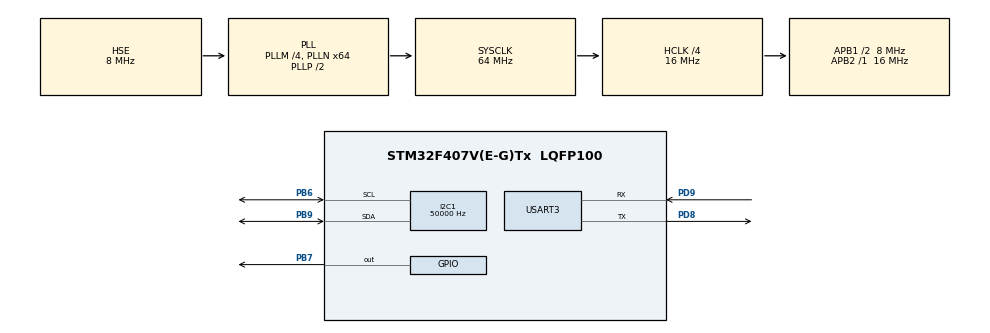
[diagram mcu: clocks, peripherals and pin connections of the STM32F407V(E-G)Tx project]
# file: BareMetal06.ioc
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I2C1.ClockSpeed=50000
I2C1.I2C_Mode=I2C_Fast
Mcu.Family=STM32F4
Mcu.Name=STM32F407V(E-G)Tx
Mcu.Package=LQFP100
NVIC.PriorityGroup=NVIC_PRIORITYGROUP_4
PA13.Mode=Serial_Wire
PA13.Signal=SYS_JTMS-SWDIO
PA14.Mode=Serial_Wire
PA14.Signal=SYS_JTCK-SWCLK
PB6.Mode=I2C
PB6.Signal=I2C1_SCL
PB7.Signal=GPIO_Output
PB9.Mode=I2C
PB9.Signal=I2C1_SDA
PD8.Mode=Asynchronous
PD8.Signal=USART3_TX
PD9.Mode=Asynchronous
PD9.Signal=USART3_RX
PH0-OSC_IN.Mode=HSE-External-Oscillator
PH0-OSC_IN.Signal=RCC_OSC_IN
PH1-OSC_OUT.Mode=HSE-External-Oscillator
PH1-OSC_OUT.Signal=RCC_OSC_OUT
ProjectManager.HeapSize=0x200
ProjectManager.StackSize=0x400
ProjectManager.TargetToolchain=STM32CubeIDE
RCC.48MHZClocksFreq_Value=32000000
RCC.AHBCLKDivider=RCC_SYSCLK_DIV4
RCC.AHBFreq_Value=16000000
RCC.APB1CLKDivider=RCC_HCLK_DIV2
RCC.APB1Freq_Value=8000000
RCC.APB1TimFreq_Value=16000000
RCC.APB2Freq_Value=16000000
RCC.APB2TimFreq_Value=16000000
RCC.CortexFreq_Value=16000000
RCC.HCLKFreq_Value=16000000
RCC.HSE_VALUE=8000000
RCC.HSI_VALUE=16000000
RCC.LSE_VALUE=32768
RCC.PLLM=4
RCC.PLLN=64
RCC.PLLSourceVirtual=RCC_PLLSOURCE_HSE
RCC.SYSCLKFreq_VALUE=64000000
RCC.SYSCLKSource=RCC_SYSCLKSOURCE_PLLCLK
RCC.VCOOutputFreq_Value=128000000
USART3.VirtualMode=VM_ASYNC
board=custom

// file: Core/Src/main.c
/* USER CODE BEGIN Header */
/*Author Mykhailo Svirskyi 05.03.2023*/
/**
 ******************************************************************************
 * @file           : main.c
 * @brief          : Main program body
 ******************************************************************************
 * @attention
 *
 * Copyright (c) 2023 STMicroelectronics.
 * All rights reserved.
 *
 * This software is licensed under terms that can be found in the LICENSE file
 * in the root directory of this software component.
 * If no LICENSE file comes with this software, it is provided AS-IS.
 *
 ******************************************************************************
 */
/* USER CODE END Header */
#include "main.h"
#include "i2c.h"
#include "usart.h"
#include "gpio.h"

/* USER CODE BEGIN Includes */
#include "pca9685.h"
void Process_Command(char *command);
#define buffsize 128    // uart3 input buffer size
#define CMD_SIZE (128)  // process_command bufer
#define BUF_SIZE (1024) // uart write buffer size
char cmd[CMD_SIZE];
uint8_t tx_buf[BUF_SIZE];
uint8_t icmd = 0;
uint8_t rx;
/* USER CODE END Includes */

void SystemClock_Config(void);

int main(void)
{

    /* MCU Configuration--------------------------------------------------------*/

    /* Reset of all peripherals, Initializes the Flash interface and the Systick. */
    HAL_Init();

    /* Configure the system clock */
    SystemClock_Config();

    /* Initialize all configured peripherals */
    MX_GPIO_Init();
    MX_I2C1_Init();
    MX_USART3_UART_Init();

    /* Infinite loop */
    /* USER CODE BEGIN WHILE */

    HAL_Delay(200);
    snprintf((char *)tx_buf, BUF_SIZE, "comand list:\r\ntrigger <on/off>\r\npulse <0-15> <0-100> (PIN Duty cycle)\r\nfreqmod <24-1526>\r\nslepmod <off/on>\r\n");
    HAL_UART_Transmit(&huart3, tx_buf, strlen((char *)tx_buf), 100);
/*    _pwm_reset();*/
    while (1)
    {

        if (HAL_UART_Receive(&huart3, &rx, 1, 10) == HAL_OK)
        {

            do
            {
                cmd[icmd++] = rx;
            } while (HAL_UART_Receive(&huart3, &rx, 1, 10) == HAL_OK && rx != '\n');
            icmd = 0;
            Process_Command(cmd);
        }
        /* USER CODE END WHILE */

    }
}

void SystemClock_Config(void)
{
    RCC_OscInitTypeDef RCC_OscInitStruct = {0};
    RCC_ClkInitTypeDef RCC_ClkInitStruct = {0};

    /** Configure the main internal regulator output voltage
     */
    __HAL_RCC_PWR_CLK_ENABLE();
    __HAL_PWR_VOLTAGESCALING_CONFIG(PWR_REGULATOR_VOLTAGE_SCALE1);

    /** Initializes the RCC Oscillators according to the specified parameters
     * in the RCC_OscInitTypeDef structure.
     */
    RCC_OscInitStruct.OscillatorType = RCC_OSCILLATORTYPE_HSE;
    RCC_OscInitStruct.HSEState = RCC_HSE_ON;
    RCC_OscInitStruct.PLL.PLLState = RCC_PLL_ON;
    RCC_OscInitStruct.PLL.PLLSource = RCC_PLLSOURCE_HSE;
    RCC_OscInitStruct.PLL.PLLM = 4;
    RCC_OscInitStruct.PLL.PLLN = 64;
    RCC_OscInitStruct.PLL.PLLP = RCC_PLLP_DIV2;
    RCC_OscInitStruct.PLL.PLLQ = 4;
    if (HAL_RCC_OscConfig(&RCC_OscInitStruct) != HAL_OK)
    {
        Error_Handler();
    }

    /** Initializes the CPU, AHB and APB buses clocks
     */
    RCC_ClkInitStruct.ClockType = RCC_CLOCKTYPE_HCLK | RCC_CLOCKTYPE_SYSCLK | RCC_CLOCKTYPE_PCLK1 | RCC_CLOCKTYPE_PCLK2;
    RCC_ClkInitStruct.SYSCLKSource = RCC_SYSCLKSOURCE_PLLCLK;
    RCC_ClkInitStruct.AHBCLKDivider = RCC_SYSCLK_DIV4;
    RCC_ClkInitStruct.APB1CLKDivider = RCC_HCLK_DIV2;
    RCC_ClkInitStruct.APB2CLKDivider = RCC_HCLK_DIV1;

    if (HAL_RCC_ClockConfig(&RCC_ClkInitStruct, FLASH_LATENCY_0) != HAL_OK)
    {
        Error_Handler();
    }
}

/* USER CODE BEGIN 4 */

void Process_Command(char *command)
{
    char cmd[64];
    char args[64];
    char args2[64];
    uint32_t argi, argi2;
    uint8_t parsed = sscanf(command, "%63s %63s %63s", cmd, args, args2);
    if (parsed == 3)
    {
        if (strcmp(cmd, "pulse") == 0)
        {
            snprintf((char *)tx_buf, BUF_SIZE, "OK\r\n");
            if (isdigit(args[0]))
            {
                argi = strtol(args, (char *)NULL, 10);
                if (argi >= 0 && argi <= 15)
                {
                    if (isdigit(args2[0]))
                    {
                        argi2 = strtol(args2, (char *)NULL, 10);
                        if (argi2 >= 0 && argi <= 100)
                        {

                            _pwm_set_duty_delay(argi, argi2, 0);
                            snprintf((char *)tx_buf, BUF_SIZE, "OK\r\n");
                        }
                        else
                        {
                            snprintf((char *)tx_buf, BUF_SIZE, "argument out of bounds <0 or >100%\r\n");
                        }
                    }
                    else
                    {
                        snprintf((char *)tx_buf, BUF_SIZE, "argument out of bounds <0 or >15\r\n");
                    }
                }
                else
                {
                    snprintf((char *)tx_buf, BUF_SIZE, "unknown argument\r\n");
                }
            }
        }
        else
        {
            snprintf((char *)tx_buf, BUF_SIZE, "command unknown\r\n");
        }
    }

    else if (parsed == 2 || parsed == 1)
    {
        if (strcmp(cmd, "trigger") == 0)
        {
            if (strcmp(args, "on") == 0)
            {
                snprintf((char *)tx_buf, BUF_SIZE, "trigger on\r\n");
                _pwm_out_trigger(ON);
            }
            else if (strcmp(args, "off") == 0)
            {
                snprintf((char *)tx_buf, BUF_SIZE, "trigger off\r\n");
                _pwm_out_trigger(OFF);
            }
            else
            {
                snprintf((char *)tx_buf, BUF_SIZE, "unknown trigger argument\r\n");
            }
        }

        else if (strcmp(cmd, "slepmod") == 0)
        {
            if (strcmp(args, "off") == 0)
            {
                snprintf((char *)tx_buf, BUF_SIZE, "wake\r\n");
                _pwm_sleep(wake);
            }
            else if (strcmp(args, "on") == 0)
            {
                snprintf((char *)tx_buf, BUF_SIZE, "sleep\r\n");
                _pwm_sleep(sleep);
            }
            else
            {
                snprintf((char *)tx_buf, BUF_SIZE, "unknown sleepmode argument\r\n");
            }
        }

        else if (strcmp(cmd, "freqmod"
                             "") == 0)
        {
            if (isdigit(args[0]))
            {
                argi = strtol(args, (char *)NULL, 10);
                if (argi >= 24 && argi <= 1526)
                {
                    _pwm_set_freq(argi);
                    /*					set freqency*/
                    snprintf((char *)tx_buf, BUF_SIZE, "OK\r\n");
                }
                else
                {
                    snprintf((char *)tx_buf, BUF_SIZE, "argument out of bounds <24 or >1526\r\n");
                }
            }
            else
            {
                snprintf((char *)tx_buf, BUF_SIZE, "freqmod unknown argument\r\n");
            }
        }

        else
        {
            snprintf((char *)tx_buf, BUF_SIZE, "command unknown2\r\n");
        }
    }

    else if (parsed == 1 && strcmp(cmd, "clear") == 0)
    {

        snprintf((char *)tx_buf, BUF_SIZE, "OK\r\n");
    }
    else
    {
        snprintf((char *)tx_buf, BUF_SIZE, "command unknown\r\n");
    }
    HAL_UART_Transmit(&huart3, tx_buf, strlen((char *)tx_buf), 100);
    // LCD_Printf("<< %s", tx_buf);
}
/* USER CODE END 4 */

void Error_Handler(void)
{
    __disable_irq();
    while (1)
    {
    }
}
